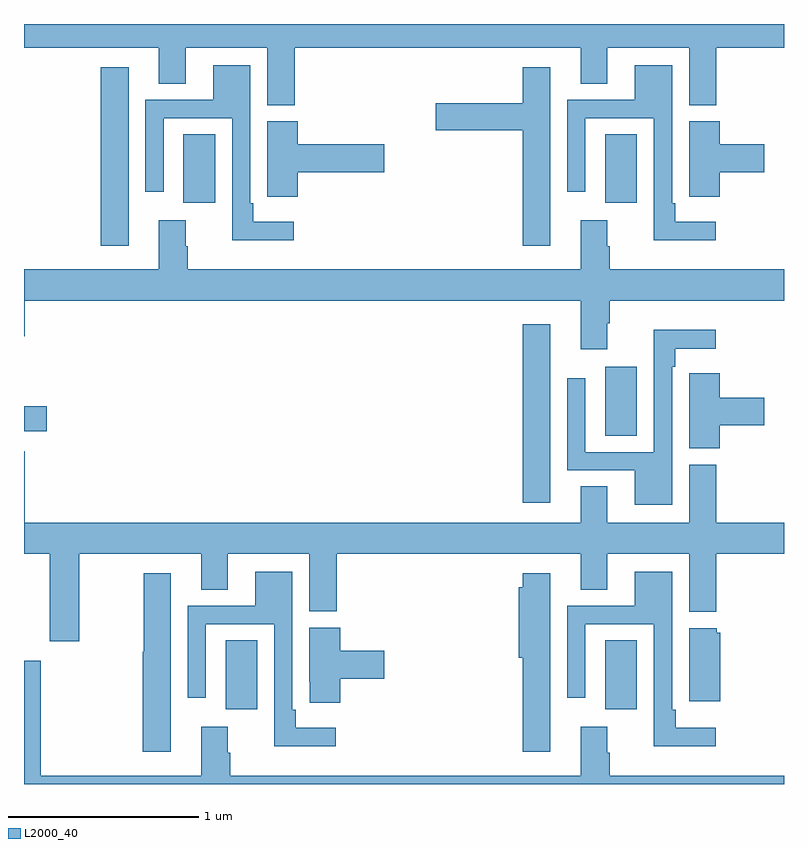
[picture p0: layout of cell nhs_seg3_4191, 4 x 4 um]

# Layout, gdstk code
import gdstk
lib = gdstk.Library(unit=1e-6, precision=1e-09)
def R(c, l, rs):  # rectangles x0, y0, x1, y1
    for r in rs: c.add(gdstk.rectangle(r[:2], r[2:], *l))
def P(c, l, *ps):  # polygons
    for p in ps: c.add(gdstk.Polygon(p, *l))
L2000_40 = (2000, 40)

nhs_seg3_4191 = lib.new_cell('nhs_seg3_4191')
R(nhs_seg3_4191, L2000_40, [(334.061,670.794,334.228,671.156), (336.059,670.794,336.226,671.156), (335.624,671.88,335.77,672.82), (336.059,672.232,336.226,672.595), (333,672.257,333.121,672.387), (333.404,673.233,333.55,674.173), (333.839,673.458,334.006,673.82), (336.059,673.458,336.226,673.82)])
P(nhs_seg3_4191, L2000_40, [(334.424,674.276),(335.93,674.276),(335.93,674.086),(336.07,674.086),(336.07,674.276),(336.5,674.276),(336.5,673.972),(336.644,673.972),(336.644,674.276),(337,674.276),(337,674.4),(333,674.4),(333,674.276),(333.71,674.276),(333.71,674.086),(333.85,674.086),(333.85,674.276),(334.28,674.276),(334.28,673.972),(334.424,673.972)],
  [(336.64,673.36),(336.427,673.36),(336.427,673.456),(336.411,673.456),(336.411,674.182),(336.215,674.182),(336.215,674.001),(335.859,674.001),(335.859,673.518),(335.955,673.518),(335.955,673.905),(336.315,673.905),(336.315,673.262),(336.64,673.262)],
  [(334.42,673.36),(334.207,673.36),(334.207,673.456),(334.191,673.456),(334.191,674.182),(333.995,674.182),(333.995,674.001),(333.639,674.001),(333.639,673.518),(333.735,673.518),(333.735,673.905),(334.095,673.905),(334.095,673.262),(334.42,673.262)],
  [(335.77,674.173),(335.624,674.173),(335.624,673.983),(335.166,673.983),(335.166,673.841),(335.624,673.841),(335.624,673.233),(335.77,673.233)],
  [(336.662,673.619),(336.895,673.619),(336.895,673.766),(336.662,673.766),(336.662,673.887),(336.5,673.887),(336.5,673.603),(336.501,673.603),(336.501,673.491),(336.662,673.491)],
  [(334.442,673.619),(334.897,673.619),(334.897,673.766),(334.442,673.766),(334.442,673.887),(334.28,673.887),(334.28,673.603),(334.281,673.603),(334.281,673.491),(334.442,673.491)],
  [(333.85,673.229),(333.85,673.366),(333.71,673.366),(333.71,673.108),(333,673.108),(333,672.756),(333.004,672.756),(333.004,672.944),(335.93,672.944),(335.93,672.687),(336.07,672.687),(336.07,672.824),(336.083,672.824),(336.083,672.944),(337,672.944),(337,673.108),(336.083,673.108),(336.083,673.229),(336.07,673.229),(336.07,673.366),(335.93,673.366),(335.93,673.108),(333.863,673.108),(333.863,673.229)],
  [(336.411,672.596),(336.427,672.596),(336.427,672.692),(336.64,672.692),(336.64,672.79),(336.315,672.79),(336.315,672.147),(335.955,672.147),(335.955,672.535),(335.859,672.535),(335.859,672.051),(336.215,672.051),(336.215,671.87),(336.411,671.87)],
  [(336.662,672.287),(336.895,672.287),(336.895,672.434),(336.662,672.434),(336.662,672.562),(336.501,672.562),(336.501,672.449),(336.5,672.449),(336.5,672.166),(336.662,672.166)],
  [(333.291,671.612),(333.932,671.612),(333.932,671.422),(334.072,671.422),(334.072,671.612),(334.502,671.612),(334.502,671.308),(334.646,671.308),(334.646,671.612),(335.93,671.612),(335.93,671.422),(336.07,671.422),(336.07,671.612),(336.5,671.612),(336.5,671.306),(336.644,671.306),(336.644,671.612),(337,671.612),(337,671.776),(336.644,671.776),(336.644,672.081),(336.5,672.081),(336.5,671.776),(336.07,671.776),(336.07,671.966),(335.93,671.966),(335.93,671.776),(333.004,671.776),(333.004,672.151),(333,672.151),(333,671.612),(333.136,671.612),(333.136,671.151),(333.291,671.151)],
  [(334.642,670.696),(334.429,670.696),(334.429,670.792),(334.413,670.792),(334.413,671.518),(334.217,671.518),(334.217,671.337),(333.861,671.337),(333.861,670.854),(333.957,670.854),(333.957,671.241),(334.317,671.241),(334.317,670.598),(334.642,670.598)],
  [(336.64,670.696),(336.431,670.696),(336.431,670.792),(336.411,670.792),(336.411,671.518),(336.215,671.518),(336.215,671.337),(335.859,671.337),(335.859,670.854),(335.955,670.854),(335.955,671.241),(336.315,671.241),(336.315,670.598),(336.64,670.598)],
  [(333.772,671.509),(333.631,671.509),(333.631,671.096),(333.626,671.096),(333.626,670.569),(333.772,670.569)],
  [(335.77,671.509),(335.624,671.509),(335.624,671.436),(335.603,671.436),(335.603,671.064),(335.624,671.064),(335.624,670.569),(335.77,670.569)],
  [(334.664,670.955),(334.897,670.955),(334.897,671.102),(334.664,671.102),(334.664,671.223),(334.502,671.223),(334.502,670.939),(334.503,670.939),(334.503,670.827),(334.664,670.827)],
  [(336.664,671.196),(336.645,671.196),(336.645,671.221),(336.5,671.221),(336.5,670.835),(336.664,670.835)],
  [(337,670.444),(336.083,670.444),(336.083,670.565),(336.07,670.565),(336.07,670.702),(335.93,670.702),(335.93,670.444),(334.085,670.444),(334.085,670.565),(334.072,670.565),(334.072,670.702),(333.932,670.702),(333.932,670.444),(333.088,670.444),(333.088,671.05),(333,671.05),(333,670.4),(337,670.4)])

lib.write_gds('nhs_seg3_4191.gds')
